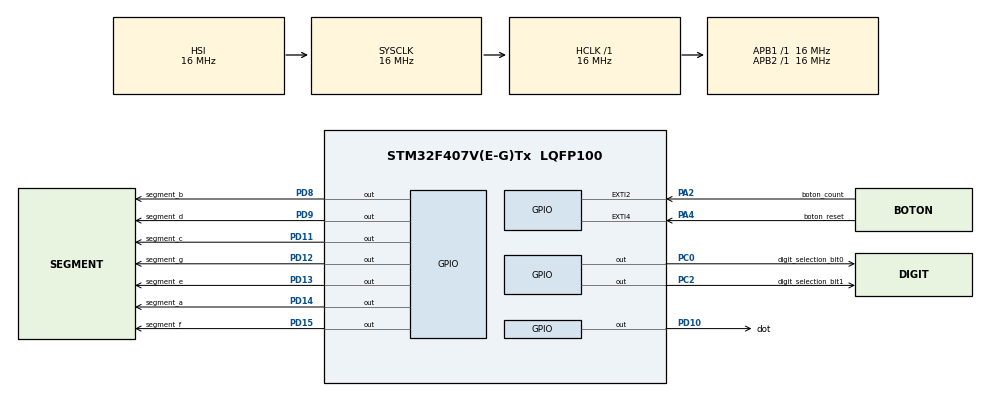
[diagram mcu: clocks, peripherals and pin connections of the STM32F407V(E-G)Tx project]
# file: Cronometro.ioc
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Mcu.Family=STM32F4
Mcu.Name=STM32F407V(E-G)Tx
Mcu.Package=LQFP100
NVIC.EXTI2_IRQn=true\:0\:0\:false\:false\:true\:true\:true\:true
NVIC.EXTI4_IRQn=true\:0\:0\:false\:false\:true\:true\:true\:true
NVIC.PriorityGroup=NVIC_PRIORITYGROUP_4
NVIC.TIM1_UP_TIM10_IRQn=true\:0\:0\:false\:false\:true\:true\:true\:true
PA2.GPIO_Label=boton_count
PA2.GPIO_ModeDefaultEXTI=GPIO_MODE_IT_FALLING
PA2.Signal=GPXTI2
PA4.GPIO_Label=boton_reset
PA4.GPIO_ModeDefaultEXTI=GPIO_MODE_IT_FALLING
PA4.Signal=GPXTI4
PC0.GPIO_Label=digit_selection_bit0
PC0.Signal=GPIO_Output
PC2.GPIO_Label=digit_selection_bit1
PC2.Signal=GPIO_Output
PD10.GPIO_Label=dot
PD10.Signal=GPIO_Output
PD11.GPIO_Label=segment_c
PD11.Signal=GPIO_Output
PD12.GPIO_Label=segment_g
PD12.Signal=GPIO_Output
PD13.GPIO_Label=segment_e
PD13.Signal=GPIO_Output
PD14.GPIO_Label=segment_a
PD14.Signal=GPIO_Output
PD15.GPIO_Label=segment_f
PD15.Signal=GPIO_Output
PD8.GPIO_Label=segment_b
PD8.Signal=GPIO_Output
PD9.GPIO_Label=segment_d
PD9.Signal=GPIO_Output
ProjectManager.HeapSize=0x200
ProjectManager.StackSize=0x400
ProjectManager.TargetToolchain=STM32CubeIDE
RCC.AHBFreq_Value=16000000
RCC.APB1Freq_Value=16000000
RCC.APB2Freq_Value=16000000
RCC.CortexFreq_Value=16000000
RCC.HSE_VALUE=25000000
RCC.HSI_VALUE=16000000
RCC.LSE_VALUE=32768
RCC.SYSCLKFreq_VALUE=16000000
RCC.VCOOutputFreq_Value=192000000
TIM1.Period=31999
VP_TIM1_VS_ClockSourceINT.Mode=Internal
board=custom

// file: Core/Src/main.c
/* USER CODE BEGIN Header */
/**
  ******************************************************************************
  * @file           : main.c
  * @brief          : Main program body
  ******************************************************************************
  * @attention
  *
  * Copyright (c) 2026 STMicroelectronics.
  * All rights reserved.
  *
  * This software is licensed under terms that can be found in the LICENSE file
  * in the root directory of this software component.
  * If no LICENSE file comes with this software, it is provided AS-IS.
  *
  ******************************************************************************
  */
/* USER CODE END Header */
#include "main.h"

/* USER CODE BEGIN Includes */
#include "display.h"
#include "timer.h"
#include "boton.h"
/* USER CODE END Includes */

/* USER CODE BEGIN PD */
#define TIME_REFRESH_RATE 2
/* USER CODE END PD */

TIM_HandleTypeDef htim1;

void SystemClock_Config(void);
static void MX_GPIO_Init(void);
static void MX_TIM1_Init(void);

/* USER CODE BEGIN 0 */
Display display;
Timer timer;
Boton boton_count;
Boton boton_reset;

/* USER CODE END 0 */

int main(void)
{

  /* USER CODE BEGIN 1 */
	display = display_new();
	timer = timer_new();
	boton_count = boton_new(boton_count_GPIO_Port, boton_count_Pin);
	boton_reset = boton_new(boton_reset_GPIO_Port, boton_reset_Pin);
  /* USER CODE END 1 */

  /* MCU Configuration--------------------------------------------------------*/

  /* Reset of all peripherals, Initializes the Flash interface and the Systick. */
  HAL_Init();

  /* Configure the system clock */
  SystemClock_Config();

  /* Initialize all configured peripherals */
  MX_GPIO_Init();
  MX_TIM1_Init();
  /* USER CODE BEGIN 2 */
  HAL_TIM_Base_Start_IT(&htim1);
  /* USER CODE END 2 */

  /* Infinite loop */
  while (1)
  {

  }
}

void SystemClock_Config(void)
{
  RCC_OscInitTypeDef RCC_OscInitStruct = {0};
  RCC_ClkInitTypeDef RCC_ClkInitStruct = {0};

  /** Configure the main internal regulator output voltage
  */
  __HAL_RCC_PWR_CLK_ENABLE();
  __HAL_PWR_VOLTAGESCALING_CONFIG(PWR_REGULATOR_VOLTAGE_SCALE1);

  /** Initializes the RCC Oscillators according to the specified parameters
  * in the RCC_OscInitTypeDef structure.
  */
  RCC_OscInitStruct.OscillatorType = RCC_OSCILLATORTYPE_HSI;
  RCC_OscInitStruct.HSIState = RCC_HSI_ON;
  RCC_OscInitStruct.HSICalibrationValue = RCC_HSICALIBRATION_DEFAULT;
  RCC_OscInitStruct.PLL.PLLState = RCC_PLL_NONE;
  if (HAL_RCC_OscConfig(&RCC_OscInitStruct) != HAL_OK)
  {
    Error_Handler();
  }

  /** Initializes the CPU, AHB and APB buses clocks
  */
  RCC_ClkInitStruct.ClockType = RCC_CLOCKTYPE_HCLK|RCC_CLOCKTYPE_SYSCLK
                              |RCC_CLOCKTYPE_PCLK1|RCC_CLOCKTYPE_PCLK2;
  RCC_ClkInitStruct.SYSCLKSource = RCC_SYSCLKSOURCE_HSI;
  RCC_ClkInitStruct.AHBCLKDivider = RCC_SYSCLK_DIV1;
  RCC_ClkInitStruct.APB1CLKDivider = RCC_HCLK_DIV1;
  RCC_ClkInitStruct.APB2CLKDivider = RCC_HCLK_DIV1;

  if (HAL_RCC_ClockConfig(&RCC_ClkInitStruct, FLASH_LATENCY_0) != HAL_OK)
  {
    Error_Handler();
  }
}

static void MX_TIM1_Init(void)
{

  TIM_ClockConfigTypeDef sClockSourceConfig = {0};
  TIM_MasterConfigTypeDef sMasterConfig = {0};

  htim1.Instance = TIM1;
  htim1.Init.Prescaler = 0;
  htim1.Init.CounterMode = TIM_COUNTERMODE_UP;
  htim1.Init.Period = 31999;
  htim1.Init.ClockDivision = TIM_CLOCKDIVISION_DIV1;
  htim1.Init.RepetitionCounter = 0;
  htim1.Init.AutoReloadPreload = TIM_AUTORELOAD_PRELOAD_DISABLE;
  if (HAL_TIM_Base_Init(&htim1) != HAL_OK)
  {
    Error_Handler();
  }
  sClockSourceConfig.ClockSource = TIM_CLOCKSOURCE_INTERNAL;
  if (HAL_TIM_ConfigClockSource(&htim1, &sClockSourceConfig) != HAL_OK)
  {
    Error_Handler();
  }
  sMasterConfig.MasterOutputTrigger = TIM_TRGO_RESET;
  sMasterConfig.MasterSlaveMode = TIM_MASTERSLAVEMODE_DISABLE;
  if (HAL_TIMEx_MasterConfigSynchronization(&htim1, &sMasterConfig) != HAL_OK)
  {
    Error_Handler();
  }

}

static void MX_GPIO_Init(void)
{
  GPIO_InitTypeDef GPIO_InitStruct = {0};

  /* GPIO Ports Clock Enable */
  __HAL_RCC_GPIOC_CLK_ENABLE();
  __HAL_RCC_GPIOA_CLK_ENABLE();
  __HAL_RCC_GPIOD_CLK_ENABLE();

  /*Configure GPIO pin Output Level */
  HAL_GPIO_WritePin(GPIOC, digit_selection_bit0_Pin|digit_selection_bit1_Pin, GPIO_PIN_RESET);

  /*Configure GPIO pin Output Level */
  HAL_GPIO_WritePin(GPIOD, segment_b_Pin|segment_d_Pin|dot_Pin|segment_c_Pin
                          |segment_g_Pin|segment_e_Pin|segment_a_Pin|segment_f_Pin, GPIO_PIN_RESET);

  /*Configure GPIO pins : digit_selection_bit0_Pin digit_selection_bit1_Pin */
  GPIO_InitStruct.Pin = digit_selection_bit0_Pin|digit_selection_bit1_Pin;
  GPIO_InitStruct.Mode = GPIO_MODE_OUTPUT_PP;
  GPIO_InitStruct.Pull = GPIO_NOPULL;
  GPIO_InitStruct.Speed = GPIO_SPEED_FREQ_LOW;
  HAL_GPIO_Init(GPIOC, &GPIO_InitStruct);

  /*Configure GPIO pins : boton_count_Pin boton_reset_Pin */
  GPIO_InitStruct.Pin = boton_count_Pin|boton_reset_Pin;
  GPIO_InitStruct.Mode = GPIO_MODE_IT_FALLING;
  GPIO_InitStruct.Pull = GPIO_NOPULL;
  HAL_GPIO_Init(GPIOA, &GPIO_InitStruct);

  /*Configure GPIO pins : segment_b_Pin segment_d_Pin dot_Pin segment_c_Pin
                           segment_g_Pin segment_e_Pin segment_a_Pin segment_f_Pin */
  GPIO_InitStruct.Pin = segment_b_Pin|segment_d_Pin|dot_Pin|segment_c_Pin
                          |segment_g_Pin|segment_e_Pin|segment_a_Pin|segment_f_Pin;
  GPIO_InitStruct.Mode = GPIO_MODE_OUTPUT_PP;
  GPIO_InitStruct.Pull = GPIO_NOPULL;
  GPIO_InitStruct.Speed = GPIO_SPEED_FREQ_LOW;
  HAL_GPIO_Init(GPIOD, &GPIO_InitStruct);

  /* EXTI interrupt init*/
  HAL_NVIC_SetPriority(EXTI2_IRQn, 0, 0);
  HAL_NVIC_EnableIRQ(EXTI2_IRQn);

  HAL_NVIC_SetPriority(EXTI4_IRQn, 0, 0);
  HAL_NVIC_EnableIRQ(EXTI4_IRQn);

}

/* USER CODE BEGIN 4 */
void HAL_TIM_PeriodElapsedCallback(TIM_HandleTypeDef *htim) {
 /* Identificar qué timer produjo el evento y ejecutar solo el trabajo periódico necesario. */
	if(htim->Instance == TIM1)
	{
		int display_block = display.current_block;
		int digit = timer_digit(&timer, display_block + 1);

		display_show(&display, digit);
		display_next_block(&display);

		if(boton_count.state == true)
		{
			if(timer.time < 60000) // 60s
			{
				timer_add(&timer, TIME_REFRESH_RATE); // aumenta 2ms
			}
			else
			{
				timer_reset(&timer);
			}
		}

	}
}
void HAL_GPIO_EXTI_Callback(uint16_t GPIO_Pin)
{
	if(GPIO_Pin == boton_count.pin)
	{
		if(boton_checkPulse(&boton_count))
		{
			boton_toggle(&boton_count);
		}
	}
	else if(GPIO_Pin == boton_reset.pin)
	{
		if(boton_checkPulse(&boton_reset) && boton_count.state == false)
		{
			timer_reset(&timer);
		}
	}
}
/* USER CODE END 4 */

void Error_Handler(void)
{
  __disable_irq();
  while (1)
  {
  }
}
